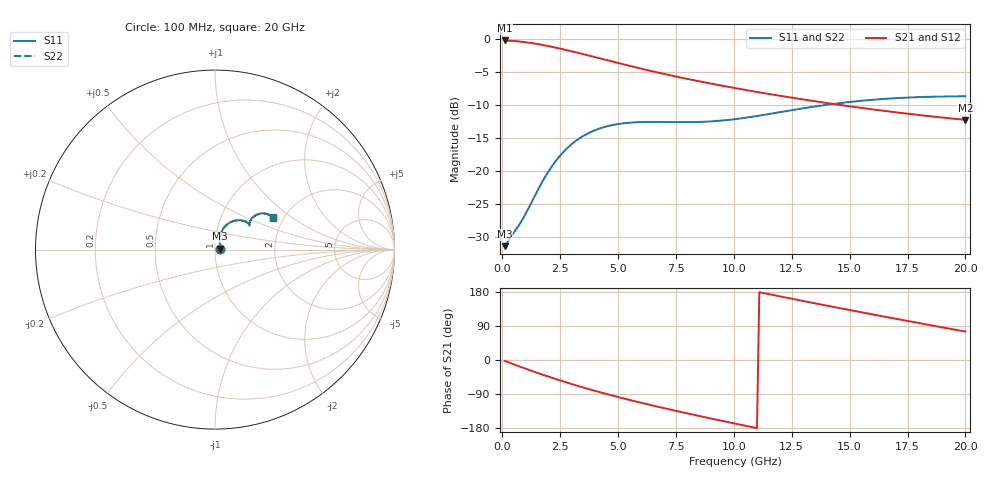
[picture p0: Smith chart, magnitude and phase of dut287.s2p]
! Touchstone file exported from HFSS 2024.1.0
!  File:  C:/UserFiles/LocalFiles/RDL_TSV_Batchsim/temp_RDL_TSV_287_1779466059.aedt
!  Generated:  12:26:30 AM May 23, 2026
!  Design:  RDL_TSV
!  Project:  temp_RDL_TSV_287_1779466059
!  Setup:  Setup1
!  Solution:  Sweep
! Variables:
!  dtsv = 9.4um
!  hbump = 3um
!  htsv = 96.86um
!  ldown = 606.56um
!  lrdl = 553.71um
!  p = 40
!  p1 = 41.91um
!  rhole = 10um
!  subl = 4034.52um
!  t = 450um
!  tdown = 3.95um
!  trdl = 2.85um
!  viad = 10um
!  wdown = 18.65um
!  wrdl = 14.98um
!  xbump = 18um
# GHz S MA R 50.000000
! Terminal data exported
! Port[1] = TM1_1_T1
! Port[2] = TM1_4_T1
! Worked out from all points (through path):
!   200 points, 100 MHz to 20 GHz, reference 50 ohm
!   highest |S21| = -0.25 dB at 100 MHz (marker M1); lowest = -12.2 dB at 20 GHz (marker M2)
!   group delay of S21, straight-line fit = 37.7 ps
!   lowest |S11| = -31.3 dB at 100 MHz (marker M3), VSWR 1.06, Z = 52.7 + j0.47 ohm
!   |S11| at or under -10 dB: start of sweep to 13.95 GHz
!   |S22| runs from -31.3 to -8.7 dB; largest |S21 - S12| = 1.2e-13
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0.1  0.02714 9.4  0.9718 -2.4  0.9718 -2.4  0.02709 9.4
! Gamma 0 0 0 0
! Port Impedance 50 0 50 0
0.5  0.03438 34.6  0.9627 -11.6  0.9627 -11.6  0.0342 34.4
0.9  0.04404 52.2  0.9472 -20.6  0.9472 -20.6  0.04374 52.3
1.4  0.06492 66.3  0.9203 -31.5  0.9203 -31.5  0.06459 66.5
1.8  0.08764 70.1  0.8943 -39.9  0.8943 -39.9  0.08735 70.3
2.2  0.1126 69.7  0.8657 -48.1  0.8657 -48.1  0.1124 69.9
2.6  0.1374 67.0  0.8355 -55.9  0.8355 -55.9  0.1373 67.2
3  0.1603 63.3  0.8045 -63.5  0.8045 -63.5  0.1602 63.4
3.5  0.1848 58.1  0.7656 -72.6  0.7656 -72.6  0.1848 58.2
4.2  0.2101 51.1  0.7127 -84.7  0.7127 -84.7  0.2102 51.2
5.1  0.2284 43.7  0.6501 -99.3  0.6501 -99.3  0.2286 43.7
5.9  0.2347 39.0  0.6007 -111.5  0.6007 -111.5  0.235 38.9
6.8  0.2355 35.9  0.5521 -124.5  0.5521 -124.5  0.2358 35.9
7.6  0.2346 35.1  0.5145 -135.6  0.5145 -135.6  0.2349 34.9
8.4  0.2351 35.6  0.4814 -146.4  0.4814 -146.4  0.2353 35.4
10.1  0.2478 38.6  0.4228 -168.5  0.4228 -168.5  0.2477 38.3
11.8  0.2755 40.5  0.3759 170.2  0.3759 170.2  0.2749 40.2
13.4  0.3062 39.8  0.3396 150.7  0.3396 150.7  0.3052 39.5
15  0.3333 37.4  0.3092 131.8  0.3092 131.8  0.3319 37.2
16.7  0.3536 34.2  0.2826 112.2  0.2826 112.2  0.3518 34.0
18.3  0.3641 31.4  0.262 94.0  0.262 94.0  0.3622 31.1
20  0.3681 29.1  0.2442 74.9  0.2442 74.9  0.366 28.9
